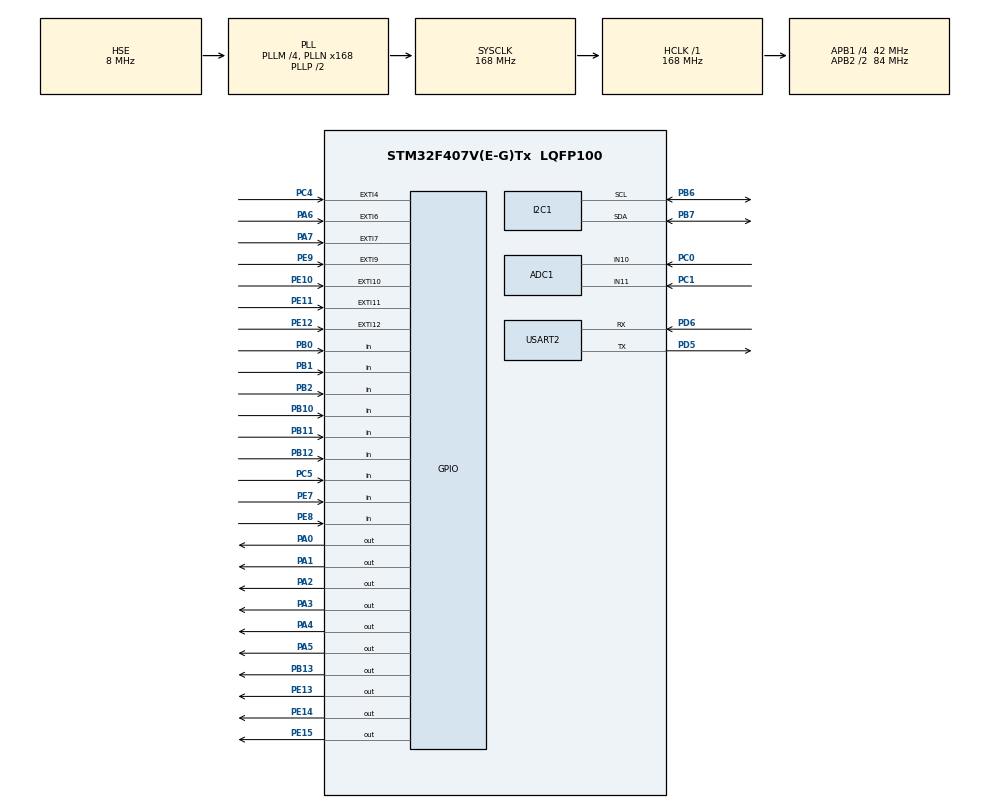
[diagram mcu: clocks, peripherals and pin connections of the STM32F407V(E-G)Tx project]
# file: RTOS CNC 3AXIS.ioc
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ADC1.Channel-0\#ChannelRegularConversion=ADC_CHANNEL_10
ADC1.Channel-1\#ChannelRegularConversion=ADC_CHANNEL_11
ADC1.ContinuousConvMode=ENABLE
ADC1.NbrOfConversion=2
ADC1.NbrOfConversionFlag=1
ADC1.Rank-0\#ChannelRegularConversion=1
ADC1.Rank-1\#ChannelRegularConversion=2
ADC1.SamplingTime-0\#ChannelRegularConversion=ADC_SAMPLETIME_480CYCLES
ADC1.SamplingTime-1\#ChannelRegularConversion=ADC_SAMPLETIME_480CYCLES
ADC1.master=1
FREERTOS.Tasks01=defaultTask,40,256,StartDefaultTask,Default,NULL,Dynamic,NULL,NULL;startADC,24,256,StartADC,Default,NULL,Dynamic,NULL,NULL;startLCD,24,256,StartLCD,Default,NULL,Dynamic,NULL,NULL;startUART_TX,8,256,StartUART_TX,Default,NULL,Dynamic,NULL,NULL;startUART_RX,8,256,StartUART_RX,Default,NULL,Dynamic,NULL,NULL
Mcu.Family=STM32F4
Mcu.Name=STM32F407V(E-G)Tx
Mcu.Package=LQFP100
NVIC.ADC_IRQn=true\:5\:0\:true\:false\:true\:true\:true\:true\:true
NVIC.EXTI15_10_IRQn=true\:5\:0\:false\:false\:true\:true\:true\:true\:true
NVIC.EXTI4_IRQn=true\:5\:0\:false\:false\:true\:true\:true\:true\:true
NVIC.EXTI9_5_IRQn=true\:5\:0\:false\:false\:true\:true\:true\:true\:true
NVIC.I2C1_ER_IRQn=true\:5\:0\:false\:false\:true\:true\:true\:true\:true
NVIC.I2C1_EV_IRQn=true\:5\:0\:false\:false\:true\:true\:true\:true\:true
NVIC.PVD_IRQn=true\:5\:0\:true\:false\:true\:true\:true\:true\:true
NVIC.PriorityGroup=NVIC_PRIORITYGROUP_4
NVIC.TIM1_BRK_TIM9_IRQn=true\:5\:0\:false\:false\:true\:true\:true\:true\:true
NVIC.TIM2_IRQn=true\:5\:0\:false\:false\:true\:true\:true\:true\:true
NVIC.TIM3_IRQn=true\:5\:0\:false\:false\:true\:true\:true\:true\:true
NVIC.TIM4_IRQn=true\:5\:0\:false\:false\:true\:true\:true\:true\:true
NVIC.TIM5_IRQn=true\:5\:0\:false\:false\:true\:true\:true\:true\:true
NVIC.TIM6_DAC_IRQn=true\:5\:0\:false\:false\:true\:true\:true\:true\:true
NVIC.USART2_IRQn=true\:5\:0\:true\:false\:true\:true\:true\:true\:true
PA0-WKUP.Signal=GPIO_Output
PA1.Signal=GPIO_Output
PA13.Mode=Serial_Wire
PA13.Signal=SYS_JTMS-SWDIO
PA14.Mode=Serial_Wire
PA14.Signal=SYS_JTCK-SWCLK
PA2.Signal=GPIO_Output
PA3.Signal=GPIO_Output
PA4.Signal=GPIO_Output
PA5.Signal=GPIO_Output
PA6.GPIO_ModeDefaultEXTI=GPIO_MODE_IT_FALLING
PA6.GPIO_PuPd=GPIO_PULLUP
PA6.Signal=GPXTI6
PA7.GPIO_ModeDefaultEXTI=GPIO_MODE_IT_FALLING
PA7.GPIO_PuPd=GPIO_PULLUP
PA7.Signal=GPXTI7
PB0.GPIO_PuPd=GPIO_PULLUP
PB0.Signal=GPIO_Input
PB1.GPIO_PuPd=GPIO_PULLUP
PB1.Signal=GPIO_Input
PB10.Signal=GPIO_Input
PB11.Signal=GPIO_Input
PB12.Signal=GPIO_Input
PB13.Signal=GPIO_Output
PB2.GPIO_PuPd=GPIO_PULLUP
PB2.Signal=GPIO_Input
PB6.Mode=I2C
PB6.Signal=I2C1_SCL
PB7.Mode=I2C
PB7.Signal=I2C1_SDA
PC0.Signal=ADCx_IN10
PC1.Signal=ADCx_IN11
PC4.GPIO_ModeDefaultEXTI=GPIO_MODE_IT_FALLING
PC4.GPIO_PuPd=GPIO_PULLUP
PC4.Signal=GPXTI4
PC5.GPIO_PuPd=GPIO_PULLUP
PC5.Signal=GPIO_Input
PD5.Mode=Asynchronous
PD5.Signal=USART2_TX
PD6.Mode=Asynchronous
PD6.Signal=USART2_RX
PE10.GPIO_ModeDefaultEXTI=GPIO_MODE_IT_FALLING
PE10.GPIO_PuPd=GPIO_PULLUP
PE10.Signal=GPXTI10
PE11.GPIO_ModeDefaultEXTI=GPIO_MODE_IT_FALLING
PE11.GPIO_PuPd=GPIO_PULLUP
PE11.Signal=GPXTI11
PE12.GPIO_ModeDefaultEXTI=GPIO_MODE_IT_FALLING
PE12.GPIO_PuPd=GPIO_PULLUP
PE12.Signal=GPXTI12
PE13.Signal=GPIO_Output
PE14.Signal=GPIO_Output
PE15.Signal=GPIO_Output
PE7.GPIO_PuPd=GPIO_PULLUP
PE7.Signal=GPIO_Input
PE8.GPIO_PuPd=GPIO_PULLUP
PE8.Signal=GPIO_Input
PE9.GPIO_ModeDefaultEXTI=GPIO_MODE_IT_FALLING
PE9.GPIO_PuPd=GPIO_PULLUP
PE9.Signal=GPXTI9
PH0-OSC_IN.Mode=HSE-External-Oscillator
PH0-OSC_IN.Signal=RCC_OSC_IN
PH1-OSC_OUT.Mode=HSE-External-Oscillator
PH1-OSC_OUT.Signal=RCC_OSC_OUT
ProjectManager.HeapSize=0x200
ProjectManager.StackSize=0x400
ProjectManager.TargetToolchain=STM32CubeIDE
RCC.48MHZClocksFreq_Value=84000000
RCC.AHBFreq_Value=168000000
RCC.APB1CLKDivider=RCC_HCLK_DIV4
RCC.APB1Freq_Value=42000000
RCC.APB1TimFreq_Value=84000000
RCC.APB2CLKDivider=RCC_HCLK_DIV2
RCC.APB2Freq_Value=84000000
RCC.APB2TimFreq_Value=168000000
RCC.CortexFreq_Value=168000000
RCC.HCLKFreq_Value=168000000
RCC.HSE_VALUE=8000000
RCC.HSI_VALUE=16000000
RCC.LSE_VALUE=32768
RCC.PLLM=4
RCC.PLLN=168
RCC.PLLSourceVirtual=RCC_PLLSOURCE_HSE
RCC.SYSCLKFreq_VALUE=168000000
RCC.SYSCLKSource=RCC_SYSCLKSOURCE_PLLCLK
RCC.VCOOutputFreq_Value=336000000
SH.ADCx_IN10.0=ADC1_IN10,IN10
SH.ADCx_IN11.0=ADC1_IN11,IN11
TIM1.AutoReloadPreload=TIM_AUTORELOAD_PRELOAD_ENABLE
TIM1.Period=1000
TIM1.Prescaler=167
TIM2.AutoReloadPreload=TIM_AUTORELOAD_PRELOAD_ENABLE
TIM2.Period=1000
TIM2.Prescaler=83
TIM3.AutoReloadPreload=TIM_AUTORELOAD_PRELOAD_ENABLE
TIM3.Period=1000
TIM3.Prescaler=83
TIM4.AutoReloadPreload=TIM_AUTORELOAD_PRELOAD_ENABLE
TIM4.Period=1000
TIM4.Prescaler=83
TIM5.AutoReloadPreload=TIM_AUTORELOAD_PRELOAD_ENABLE
TIM5.Period=1000
TIM5.Prescaler=83
TIM6.AutoReloadPreload=TIM_AUTORELOAD_PRELOAD_ENABLE
TIM6.Period=1000
TIM6.Prescaler=83
USART2.VirtualMode=VM_ASYNC
VP_FREERTOS_VS_CMSIS_V2.Mode=CMSIS_V2
VP_TIM1_VS_ClockSourceINT.Mode=Internal
VP_TIM2_VS_ClockSourceINT.Mode=Internal
VP_TIM3_VS_ClockSourceINT.Mode=Internal
VP_TIM4_VS_ClockSourceINT.Mode=Internal
VP_TIM5_VS_ClockSourceINT.Mode=Internal
VP_TIM6_VS_ClockSourceINT.Mode=Enable_Timer
board=custom

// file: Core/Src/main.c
/* USER CODE BEGIN Header */
/**
  ******************************************************************************
  * @file           : main.c
  * @brief          : Main program body
  ******************************************************************************
  * @attention
  * Created on: Jan 21, 2024
  * Author: Nguyen Ngoc Quy (Wis)
  * Copyright (c) 2024 STMicroelectronics.
  * All rights reserved.
  *
  * This software is licensed under terms that can be found in the LICENSE file
  * in the root directory of this software component.
  * If no LICENSE file comes with this software, it is provided AS-IS.
  *
  ******************************************************************************
  */
/* USER CODE END Header */
#include "main.h"
#include "cmsis_os.h"

/* USER CODE BEGIN Includes */
#include "cmsis_os.h"
#include "stdio.h"
#include "string.h"
#include "stdlib.h"
#include "stdint.h"
#include "stdbool.h"
#include "tim.h"
#include "usart.h"
#include "gpio.h"
#include "adc.h"
#include "i2c.h"
#include "AccelStepper.h"
#include "Inverse_cnc.h"
#include "lcd.h"
#include "menulcd.h"
#include "cli.h"
/* USER CODE END Includes */

void SystemClock_Config(void);
void MX_FREERTOS_Init(void);

int main(void)
{

  /* MCU Configuration--------------------------------------------------------*/

  /* Reset of all peripherals, Initializes the Flash interface and the Systick. */
  HAL_Init();

  /* Configure the system clock */
  SystemClock_Config();

  /* Initialize all configured peripherals */
  MX_GPIO_Init();
  MX_ADC1_Init();
  MX_I2C1_Init();
  MX_TIM1_Init();
  MX_TIM2_Init();
  MX_TIM3_Init();
  MX_TIM4_Init();
  MX_TIM5_Init();
  MX_TIM6_Init();
  MX_USART2_UART_Init();

  /* Init scheduler */
  osKernelInitialize();

  MX_FREERTOS_Init();

  /* Start scheduler */
  osKernelStart();

  /* We should never get here as control is now taken by the scheduler */

  /* Infinite loop */
  while (1)
  {

  }
}

void SystemClock_Config(void)
{
  RCC_OscInitTypeDef RCC_OscInitStruct = {0};
  RCC_ClkInitTypeDef RCC_ClkInitStruct = {0};

  /** Configure the main internal regulator output voltage
  */
  __HAL_RCC_PWR_CLK_ENABLE();
  __HAL_PWR_VOLTAGESCALING_CONFIG(PWR_REGULATOR_VOLTAGE_SCALE1);

  /** Initializes the RCC Oscillators according to the specified parameters
  * in the RCC_OscInitTypeDef structure.
  */
  RCC_OscInitStruct.OscillatorType = RCC_OSCILLATORTYPE_HSE;
  RCC_OscInitStruct.HSEState = RCC_HSE_ON;
  RCC_OscInitStruct.PLL.PLLState = RCC_PLL_ON;
  RCC_OscInitStruct.PLL.PLLSource = RCC_PLLSOURCE_HSE;
  RCC_OscInitStruct.PLL.PLLM = 4;
  RCC_OscInitStruct.PLL.PLLN = 168;
  RCC_OscInitStruct.PLL.PLLP = RCC_PLLP_DIV2;
  RCC_OscInitStruct.PLL.PLLQ = 4;
  if (HAL_RCC_OscConfig(&RCC_OscInitStruct) != HAL_OK)
  {
    Error_Handler();
  }

  /** Initializes the CPU, AHB and APB buses clocks
  */
  RCC_ClkInitStruct.ClockType = RCC_CLOCKTYPE_HCLK|RCC_CLOCKTYPE_SYSCLK
                              |RCC_CLOCKTYPE_PCLK1|RCC_CLOCKTYPE_PCLK2;
  RCC_ClkInitStruct.SYSCLKSource = RCC_SYSCLKSOURCE_PLLCLK;
  RCC_ClkInitStruct.AHBCLKDivider = RCC_SYSCLK_DIV1;
  RCC_ClkInitStruct.APB1CLKDivider = RCC_HCLK_DIV4;
  RCC_ClkInitStruct.APB2CLKDivider = RCC_HCLK_DIV2;

  if (HAL_RCC_ClockConfig(&RCC_ClkInitStruct, FLASH_LATENCY_5) != HAL_OK)
  {
    Error_Handler();
  }
}

/* USER CODE BEGIN 4 */
void HAL_TIM_PeriodElapsedCallback(TIM_HandleTypeDef *htim){

	  if(htim->Instance == TIM2){
		  Accel_Stepper_TIMIT_Handler(&Stepper1);
	  }
	  if(htim->Instance == TIM3){
		  Accel_Stepper_TIMIT_Handler(&Stepper2);
	  }
	  if(htim->Instance == TIM4){
		  Accel_Stepper_TIMIT_Handler(&Stepper3);
	  }
}
/* USER CODE END 4 */

void Error_Handler(void)
{
  __disable_irq();
  while (1)
  {
  }
}

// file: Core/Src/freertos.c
/* USER CODE BEGIN Header */
/**
  ******************************************************************************
  * File Name          : freertos.c
  * Description        : Code for freertos applications
  ******************************************************************************
  * @attention
  *
  * Copyright (c) 2024 STMicroelectronics.
  * All rights reserved.
  *
  * This software is licensed under terms that can be found in the LICENSE file
  * in the root directory of this software component.
  * If no LICENSE file comes with this software, it is provided AS-IS.
  * Created on: Jan 21, 2024
  * Author: Nguyen Ngoc Quy (Wis)
  ******************************************************************************
  */
/* USER CODE END Header */

#include "FreeRTOS.h"
#include "task.h"
#include "main.h"

/* USER CODE BEGIN Includes */
#include "cmsis_os.h"
#include "stdio.h"
#include "string.h"
#include "stdlib.h"
#include "stdint.h"
#include "stdbool.h"
#include "tim.h"
#include "usart.h"
#include "gpio.h"
#include "adc.h"
#include "i2c.h"
#include "AccelStepper.h"
#include "Inverse_cnc.h"
#include "lcd.h"
#include "menulcd.h"
#include "cli.h"

/* USER CODE END Includes */

/* USER CODE BEGIN PTD */
/* Definitions for defaultTask */
osMutexId_t lcdMutexHandle;
const osMutexAttr_t lcdMutex_attributes = {
  .name = "lcdMutex"
};
osSemaphoreId_t uartRxSemaphoreHandle;
const osSemaphoreAttr_t uartRxSemaphore_attributes = {
  .name = "uartRxSemaphore"
};

osThreadId_t defaultTaskHandle;
const osThreadAttr_t defaultTask_attributes = {
  .name = "defaultTask",
  .stack_size = 512 * 4,
  .priority = (osPriority_t) osPriorityHigh,
};
/* Definitions for startADC */
osThreadId_t startADCHandle;
const osThreadAttr_t startADC_attributes = {
  .name = "startADC",
  .stack_size = 512 * 4,
  .priority = (osPriority_t) osPriorityNormal,
};
/* Definitions for startLCD */
osThreadId_t startLCDHandle;
const osThreadAttr_t startLCD_attributes = {
  .name = "startLCD",
  .stack_size = 512 * 4,
  .priority = (osPriority_t) osPriorityHigh,
};
/* Definitions for startUART_TX */
osThreadId_t startUART_TXHandle;
const osThreadAttr_t startUART_TX_attributes = {
  .name = "startUART_TX",
  .stack_size = 256 * 4,
  .priority = (osPriority_t) osPriorityLow,
};
/* Definitions for startUART_RX */
osThreadId_t startUART_RXHandle;
const osThreadAttr_t startUART_RX_attributes = {
  .name = "startUART_RX",
  .stack_size = 512 * 4,
  .priority = (osPriority_t) osPriorityLow,
};
/* USER CODE END PTD */

/* USER CODE BEGIN PD */
CNC_pos_t CNC_pos;
Inv_CNC_t CNC;

osThreadId_t defaultTaskHandle;
osThreadId_t startADCHandle;
osThreadId_t startLCDHandle;
osThreadId_t startUARTHandle;

/* USER CODE END PD */

/* USER CODE BEGIN Variables */
#define max(a,b) (a > b) ? a : b;
#define min(a,b) (a > b) ? b : a;
/* USER CODE END Variables */

/* USER CODE BEGIN FunctionPrototypes */
/*----------------------------------*/
/* Config speed for stepper */
int max3(int a, int b, int c) {
	int n1 = max(a, b);
    return max(n1, c);
}
/* Function set home */
void DelayUs_step(uint32_t us)
{
	HAL_TIM_Base_Start_IT(&htim1);
	//(&htim7)->Instance->CNT = (0);
	__HAL_TIM_SET_COUNTER(&htim1, 0);
	while(__HAL_TIM_GET_COUNTER(&htim1) < us);
	HAL_TIM_Base_Stop_IT(&htim1);
}

void HOME(void)
{
    // Home Z axis
    HAL_GPIO_WritePin(dir_3_GPIO_Port, dir_3_pin, GPIO_PIN_RESET); // Set direction to move towards home
    while (HAL_GPIO_ReadPin(moveZsub_port, moveZsub_pin) != CNC_pos.Lsw6) {
        HAL_GPIO_TogglePin(step_3_GPIO_Port, step_3_pin); // Toggle step pin to move towards home
        DelayUs_step(30); // Adjust delay as needed
    }
    // Home X axis
    HAL_GPIO_WritePin(dir_1_GPIO_Port, dir_1_pin, GPIO_PIN_RESET); // Set direction to move towards home
    bool isXHome = false;

    // Home Y axis
    HAL_GPIO_WritePin(dir_2_GPIO_Port, dir_2_pin, GPIO_PIN_RESET); // Set direction to move towards home
    bool isYHome = false;

    while (!(isXHome && isYHome)) {
        if (!isXHome && (HAL_GPIO_ReadPin(moveXsub_port, moveXsub_pin) != CNC_pos.Lsw2)) {
            HAL_GPIO_TogglePin(step_1_GPIO_Port, step_1_pin); // Toggle step pin to move towards home
        } else {
            isXHome = true;
        }

        if (!isYHome && (HAL_GPIO_ReadPin(moveYsub_port, moveYsub_pin) != CNC_pos.Lsw4)) {
            HAL_GPIO_TogglePin(step_2_GPIO_Port, step_2_pin); // Toggle step pin to move towards home
        } else {
            isYHome = true;
        }
        DelayUs_step(30); // Adjust delay as needed
    }
}
/* Function control 3 axis */
extern uint16_t kalmancurrent;
//Move X-Y
void MoveToPosXY(float x, float y) {
    trans_to_posXY(x,y);
    CNC_pos.MoveX = caculate_pos(CNC.set_posX, 161);
    CNC_pos.MoveY = caculate_pos(CNC.set_posY, 161);
    int step_max = max3(abs(CNC_pos.MoveX), abs(CNC_pos.MoveY), abs(CNC_pos.MoveZ));
    float coef1 = fabs(CNC_pos.MoveX) / step_max;
    float coef2 = fabs(CNC_pos.MoveY) / step_max;
    CNC_pos.pos1dot = CNC_pos.max_speedXY * coef1;
    CNC_pos.pos2dot = CNC_pos.max_speedXY * coef2;
    CNC_pos.accel1 = CNC_pos.a_maxX * coef1;
    CNC_pos.accel2 = CNC_pos.a_maxY * coef2;
    CNC_pos.jerk1 = CNC_pos.j_maxX * coef1;
    CNC_pos.jerk2 = CNC_pos.j_maxY * coef2;
    if (Stepper1.run_state != 1 && Stepper2.run_state != 1) {
        Accel_Stepper_Move(&Stepper1, CNC_pos.MoveX, CNC_pos.accel1, CNC_pos.jerk1, CNC_pos.pos1dot);
        Accel_Stepper_Move(&Stepper2, CNC_pos.MoveY, CNC_pos.accel2, CNC_pos.jerk2, CNC_pos.pos2dot);
        while (Stepper1.run_state != STOP || Stepper2.run_state != STOP) {
        	if(HAL_GPIO_ReadPin(moveXplus_port, moveXplus_pin) == CNC_pos.Lsw1 ||
        		HAL_GPIO_ReadPin(moveYplus_port, moveYplus_pin) == CNC_pos.Lsw3){
        		handle_stop_button_press();
        	}
        	osDelay(1);
        }
        CNC.pos_x = x;
        CNC.pos_y = y;
    }
}
// Move Z
void MoveToPosZ(float z) {
    trans_to_posZ(z);
    CNC_pos.MoveZ = caculate_pos(CNC.set_posZ, 161);
    int step_max = max3(abs(CNC_pos.MoveX), abs(CNC_pos.MoveY), abs(CNC_pos.MoveZ));
    float coef3 = fabs(CNC_pos.MoveZ) / step_max;
    CNC_pos.pos3dot = CNC_pos.max_speedZ * coef3;
    CNC_pos.accel3 = CNC_pos.a_maxZ * coef3;
    CNC_pos.jerk3 = CNC_pos.j_maxZ * coef3;
    if (Stepper3.run_state != 1) {
        Accel_Stepper_Move(&Stepper3, CNC_pos.MoveZ, CNC_pos.accel3, CNC_pos.jerk3, CNC_pos.pos3dot);
        while(Stepper3.run_state != STOP){
        	if(HAL_GPIO_ReadPin(moveZplus_port, moveZplus_pin) ==  CNC_pos.Lsw5){
        		handle_stop_button_press();
        	}
			osDelay(1);
		}
        CNC.pos_z = z;
    }
}

// void SmoothMoveCircularPath(float centerX, float centerY, float radius) {
//     const int NUM_POINTS = 100; // �?i�?u chỉnh tùy theo độ mịn của đư�?ng tròn
//     const float angleIncrement = 2 * M_PI / NUM_POINTS;
//     float angle = 0;

//     // Tính toán và di chuyển theo đư�?ng tròn
//     for (int i = 0; i < NUM_POINTS; i++) {
//         int x = (int)(centerX + radius * cos(angle));
//         int y = (int)(centerY + radius * sin(angle));
//         MoveToPosXY(x, y);
//         angle += angleIncrement;
//     }
// }

/* USER CODE END Variables */

/* Private function prototypes -----------------------------------------------*/
/* USER CODE BEGIN FunctionPrototypes */
/**
  * @brief  Function implementing the defaultTask thread.
  * @param  argument: Not used
  * @retval None
  */
/* USER CODE END Header_StartDefaultTask */
void StartDefaultTask(void *argument)
{
  /* USER CODE BEGIN 5 */
  HOME();
  initializeCNC_pos(&CNC_pos);
  Accel_Stepper_SetPin(&Stepper1, step_1_GPIO_Port, step_1_pin, dir_1_GPIO_Port, dir_1_pin);
  Accel_Stepper_SetPin(&Stepper2, step_2_GPIO_Port, step_2_pin, dir_2_GPIO_Port, dir_2_pin);
  Accel_Stepper_SetPin(&Stepper3, step_3_GPIO_Port, step_3_pin, dir_3_GPIO_Port, dir_3_pin);

  Accel_Stepper_SetTimer(&Stepper1, &htim2);
  Accel_Stepper_SetTimer(&Stepper2, &htim3);
  Accel_Stepper_SetTimer(&Stepper3, &htim4);

  CNC.pos_x = 0;
  CNC.pos_y = 0;
  CNC.pos_z = 0;

  //vTaskDelay(pdMS_TO_TICKS(2000));
  /* Infinite loop */
  for(;;)
  {
      if (state.start_press) {
    	  HAL_GPIO_WritePin(drill_port, drill_pin, 1);
          move_to_coordinates();
      }

    osDelay(1);
  }
  /* USER CODE END 5 */
}

/* USER CODE BEGIN Header_StartADC */
/**
* @brief Function implementing the startADC thread.
* @param argument: Not used
* @retval None
*/

/* USER CODE END Header_StartADC */
void StartADC(void *argument)
{
  /* USER CODE BEGIN StartADC */
  /* Infinite loop */
  //HAL_ADC_Start	_DMA(&hadc1, (uint32_t*)LCD_adc.readValue, 2);
  for(;;)
  {
	startADC();
    osDelay(1);
  }
  /* USER CODE END StartADC */
}

/* USER CODE BEGIN Header_StartLCD */
/**
* @brief Function implementing the startLCD thread.
* @param argument: Not used
* @retval None
*/
/* USER CODE END Header_StartLCD */
void StartLCD(void *argument)
{
  /* USER CODE BEGIN StartLCD */
  /* Infinite loop */
  initialize_LCD(&LCD_adc);
  initialize_Kalman(&kalman_fil_curr);
  initialize_Kalman(&kalman_fil_volt);
  display_menu();
  for(;;)
  {
	ButtonTask();
    osDelay(1);
  }
  /* USER CODE END StartLCD */
}

/* USER CODE BEGIN Header_StartUART_TX */
/**
* @brief Function implementing the startUART_TX thread.
* @param argument: Not used
* @retval None
*/
/* USER CODE END Header_StartUART_TX */
void StartUART_TX(void *argument)
{
  /* USER CODE BEGIN StartUART_TX */
  /* Infinite loop */
  UART_transmit_init();
  for(;;)
  {
    osDelay(1000);  // Delay 1000 milliseconds (1 second)
    send_uart_data();  // Send data every second
  }
  /* USER CODE END StartUART_TX */
}

/* USER CODE BEGIN Header_StartUART_RX */
/**
* @brief Function implementing the startUART_RX thread.
* @param argument: Not used
* @retval None
*/
/* USER CODE END Header_StartUART_RX */

void StartUART_RX(void *argument) {
    /* USER CODE BEGIN StartUART_RX */
    /* Initialize UART receive in DMA mode */
    UART_RECEIVE_Init();
    /* Infinite loop */
    for(;;)
    {
        if (osSemaphoreAcquire(uartRxSemaphoreHandle, osWaitForever) == osOK) {
            UART_rx_process();
        }
        osDelay(1);
    }
    /* USER CODE END StartUART_RX */
}
/* USER CODE END 0 */

/* USER CODE END FunctionPrototypes */

/* USER CODE BEGIN Application */
/**
  * @brief  FreeRTOS initialization
  * @param  None
  * @retval None
  */
void MX_FREERTOS_Init(void)
{
  /* USER CODE BEGIN Init */

  /* USER CODE END Init */

  /* USER CODE BEGIN RTOS_MUTEX */
  /* add mutexes, ... */
  lcdMutexHandle = osMutexNew(&lcdMutex_attributes);
  /* USER CODE END RTOS_MUTEX */

  /* USER CODE BEGIN RTOS_SEMAPHORES */
  /* add semaphores, ... */
  uartRxSemaphoreHandle = osSemaphoreNew(1, 1, &uartRxSemaphore_attributes);
  /* USER CODE END RTOS_SEMAPHORES */

  /* USER CODE BEGIN RTOS_TIMERS */
  /* start timers, add new ones, ... */
  /* USER CODE END RTOS_TIMERS */

  /* USER CODE BEGIN RTOS_QUEUES */
  /* add queues, ... */
  /* USER CODE END RTOS_QUEUES */

  /* Create the thread(s) */
  /* creation of defaultTask */
  defaultTaskHandle = osThreadNew(StartDefaultTask, NULL, &defaultTask_attributes);

  /* creation of startADC */
  startADCHandle = osThreadNew(StartADC, NULL, &startADC_attributes);

  /* creation of startLCD */
  startLCDHandle = osThreadNew(StartLCD, NULL, &startLCD_attributes);

  /* creation of startUART_TX */
  startUART_TXHandle = osThreadNew(StartUART_TX, NULL, &startUART_TX_attributes);

  /* creation of startUART_RX */
  startUART_RXHandle = osThreadNew(StartUART_RX, NULL, &startUART_RX_attributes);

  /* USER CODE BEGIN RTOS_THREADS */
  /* add threads, ... */
  /* USER CODE END RTOS_THREADS */

  /* USER CODE BEGIN RTOS_EVENTS */
  /* add events, ... */
  /* USER CODE END RTOS_EVENTS */

}
/* USER CODE END Application */
